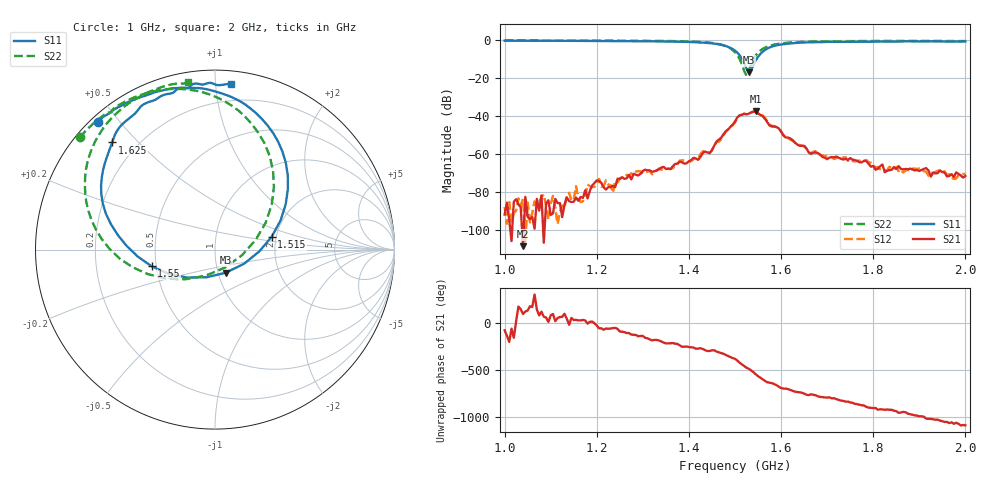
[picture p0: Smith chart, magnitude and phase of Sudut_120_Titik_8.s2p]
# Hz S RI R 50
! CMT, C1220, 16058040, 17.2.0/1
! Date: 14/08/2018 12:05:53
! Data: Format (Calibration Info)
! Freq  S11: Re/Im (F2)  S21: Re/Im (F2)  S12: Re/Im (F2)  S22: Re/Im (F2)
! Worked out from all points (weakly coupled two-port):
!   201 points, 1 GHz to 2 GHz, reference 50 ohm
!   highest |S21| = -37.59 dB at 1.545 GHz (marker M1); lowest = -108.5 dB at 1.04 GHz (marker M2)
!   lowest |S11| = -17.0 dB at 1.53 GHz (marker M3), VSWR 1.33, Z = 54.6 - j14.3 ohm
!   |S11| at or under -10 dB: 1.515 GHz to 1.547 GHz (31.36 MHz wide, 2.05 % of centre)
!   |S22| runs from -18.8 to -0.2 dB; largest |S21 - S12| = 0.00065
!   S11 on the Smith chart (normalised r, x): 1 GHz: 0.02, +0.44; 1.515 GHz: 1.89, +0.30; 1.55 GHz: 0.47, -0.10; 1.625 GHz: 0.11, +0.42; 2 GHz: 0.09, +1.09
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1e9  -0.6544 0.71  4.4e-06 -2.5e-05  2.33e-05 3.26e-05  -0.7535 0.6257
1.04e9  -0.6257 0.7375  -2.13e-07 3.73e-06  -6.43e-05 -1.4e-05  -0.7255 0.6561
1.17e9  -0.4863 0.8215  6.02e-05 3.58e-05  5.44e-05 1.48e-05  -0.6163 0.7516
1.205e9  -0.4407 0.8386  0.000105 -0.000167  0.00015 -0.000163  -0.5799 0.7658
1.22e9  -0.4249 0.8453  5.79e-05 -0.0001  8.89e-05 -0.000183  -0.5712 0.7788
1.235e9  -0.3975 0.8545  8.13e-05 -0.000121  4.15e-05 -8.56e-05  -0.5545 0.7929
1.24e9  -0.3873 0.8578  7.86e-05 -0.000108  8.44e-05 -0.000175  -0.5484 0.797
1.245e9  -0.3779 0.8613  9.77e-05 -0.000201  9.14e-05 -0.000152  -0.542 0.8007
1.265e9  -0.3504 0.8715  -7.39e-05 -0.000217  -0.000111 -0.00026  -0.5148 0.8171
1.335e9  -0.2292 0.8995  -0.000392 5.25e-05  -0.000398 0.00012  -0.3996 0.8662
1.445e9  0.1468 0.8223  0.000517 0.000926  0.000584 0.000877  -0.00753 0.856
1.5e9  0.406 0.3371  0.00666 -0.00271  0.00622 -0.00253  0.3283 0.3495
1.515e9  0.3155 0.071  0.00179 -0.0106  0.002 -0.0106  0.2268 0.0542
1.525e9  0.1611 -0.0793  -0.00501 -0.00985  -0.00498 -0.00995  0.0554 -0.1002
1.53e9  0.061 -0.1282  -0.00707 -0.00917  -0.00704 -0.00925  -0.053 -0.1455
1.545e9  -0.2593 -0.1346  -0.0131 0.0014  -0.013 0.00105  -0.3737 -0.1367
1.55e9  -0.3527 -0.0932  -0.0106 0.00508  -0.0108 0.00464  -0.4586 -0.0987
1.58e9  -0.625 0.2562  0.000884 0.00522  0.00112 0.00538  -0.7055 0.2166
1.625e9  -0.5729 0.5971  0.00232 -8.62e-05  0.00226 -6.05e-05  -0.7007 0.5213
1.67e9  -0.462 0.7438  0.00079 -0.000743  0.000824 -0.000805  -0.6248 0.6732
1.835e9  -0.1606 0.8992  -0.000346 0.000146  -0.000408 0.000208  -0.3751 0.8749
2e9  0.0864 0.9209  0.000262 -3.67e-05  0.000302 1.41e-06  -0.1505 0.9335
